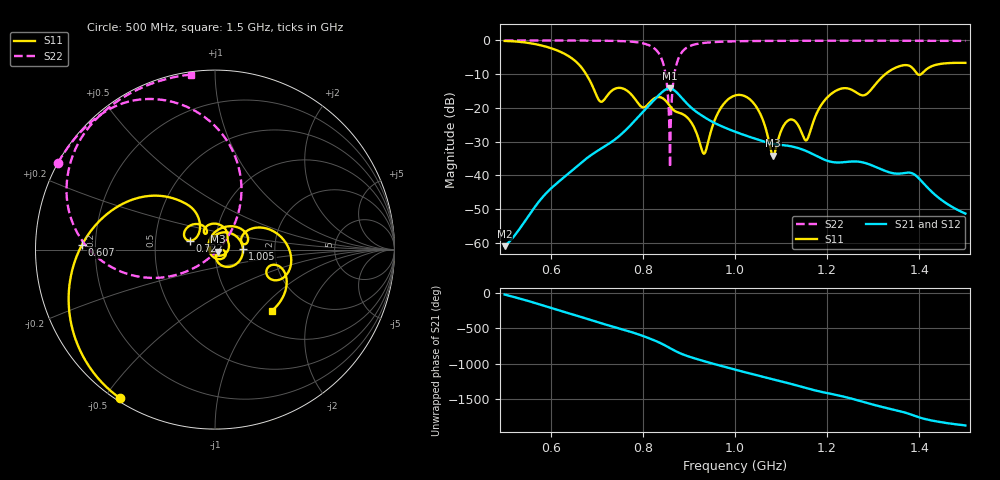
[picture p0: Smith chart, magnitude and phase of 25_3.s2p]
! TOUCHSTONE file generated by CST MICROWAVE STUDIO
! Date and time: Fri Oct  2 16:37:18 2020
! Project name: Scenario_1_Free_Space_out_of_line.cst
! Parameters = {Lambda=346.42; Step_1=17.321; dy1=-68.544; dx1=520; L_HA=400; MT=2.54; Rad_Dielectric=30; Rad_Lower=7.3; Rad_Upper=30; a_HA=580; a_WG=246; b_HA=500; b_WG=121; c_HA=0; c_WG=187; d_feed=85; h_feed=15; h_lower=18; h_upper=40}
! Header version: 2018
! Port assignment regex: !\s*Touchstone port\s*([0-9]+)\s*=\s*(CST MWS port|CST DS port)\s*([0-9]+|Zmin|Zmax)\s*\(\"(.*)\"\)(\s*mode\s*([0-9]+))?.*
! Touchstone port assignment:
! Touchstone port 1 = CST MWS port 1 ("")
! Touchstone port 2 = CST MWS port 2 ("")
# GHz S DB R 50
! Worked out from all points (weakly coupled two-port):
!   1003 points, 500 MHz to 1.5 GHz, reference 50 ohm
!   highest |S21| = -14.22 dB at 858 MHz (marker M1); lowest = -61.0 dB at 500 MHz (marker M2)
!   lowest |S11| = -34.1 dB at 1.083 GHz (marker M3), VSWR 1.04, Z = 51.5 - j1.27 ohm
!   |S11| at or under -10 dB: 676.9 MHz to 1.326 GHz (649.3 MHz wide, 64.8 % of centre); 1.396 GHz to 1.404 GHz (7.445 MHz wide, 0.532 % of centre)
!   |S22| runs from -37.6 to 0.0 dB; largest |S21 - S12| = 8.8e-06
!   S11 on the Smith chart (normalised r, x): 500 MHz: 0.01, -0.55; 607 MHz: 0.15, +0.02; 722 MHz: 0.75, +0.08; 1.005 GHz: 1.37, +0.02; 1.5 GHz: 1.34, -1.17
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0.5  -0.15 -122.6  -60.98 -18.0  -60.98 -18.0  -0.01 151.1
0.607  -2.59 178.0  -43.09 138.5  -43.10 138.4  -0.02 143.5
0.667  -8.04 132.1  -36.15 20.3  -36.15 20.3  -0.04 138.2
0.722  -16.50 160.6  -30.98 -90.5  -30.98 -90.5  -0.10 131.9
0.834  -16.77 93.8  -16.32 23.7  -16.32 23.7  -3.70 87.1
0.848  -17.65 66.3  -14.67 -21.4  -14.67 -21.4  -9.01 65.4
0.858  -19.30 49.9  -14.22 -57.5  -14.22 -57.5  -29.51 25.7
0.868  -20.81 39.8  -14.76 -93.5  -14.76 -93.5  -10.34 -150.1
0.88  -21.49 26.2  -16.34 -131.4  -16.34 -131.4  -4.53 -171.1
0.933  -33.59 -147.4  -22.69 113.2  -22.69 113.2  -0.73 153.1
0.965  -20.98 79.3  -25.07 54.9  -25.07 54.9  -0.41 145.6
1  -16.32 11.0  -27.04 -6.6  -27.05 -6.6  -0.26 140.1
1.005  -16.17 2.1  -27.30 -15.2  -27.30 -15.2  -0.24 139.4
1.048  -20.04 -65.5  -29.31 -88.3  -29.31 -88.3  -0.17 134.4
1.083  -34.12 -38.7  -30.68 -145.0  -30.68 -145.0  -0.13 131.1
1.115  -23.75 -22.6  -31.22 161.3  -31.22 161.3  -0.11 128.3
1.153  -29.59 -150.3  -32.69 92.7  -32.69 92.7  -0.10 125.2
1.167  -25.31 128.6  -33.57 68.5  -33.57 68.5  -0.09 124.1
1.212  -15.51 50.2  -36.06 2.8  -36.06 2.8  -0.08 120.6
1.282  -16.17 20.4  -36.31 -113.3  -36.31 -113.3  -0.09 115.3
1.334  -9.20 16.4  -39.05 158.7  -39.05 158.7  -0.09 111.3
1.5  -6.65 -47.2  -51.32 -81.7  -51.33 -81.8  -0.14 97.7
